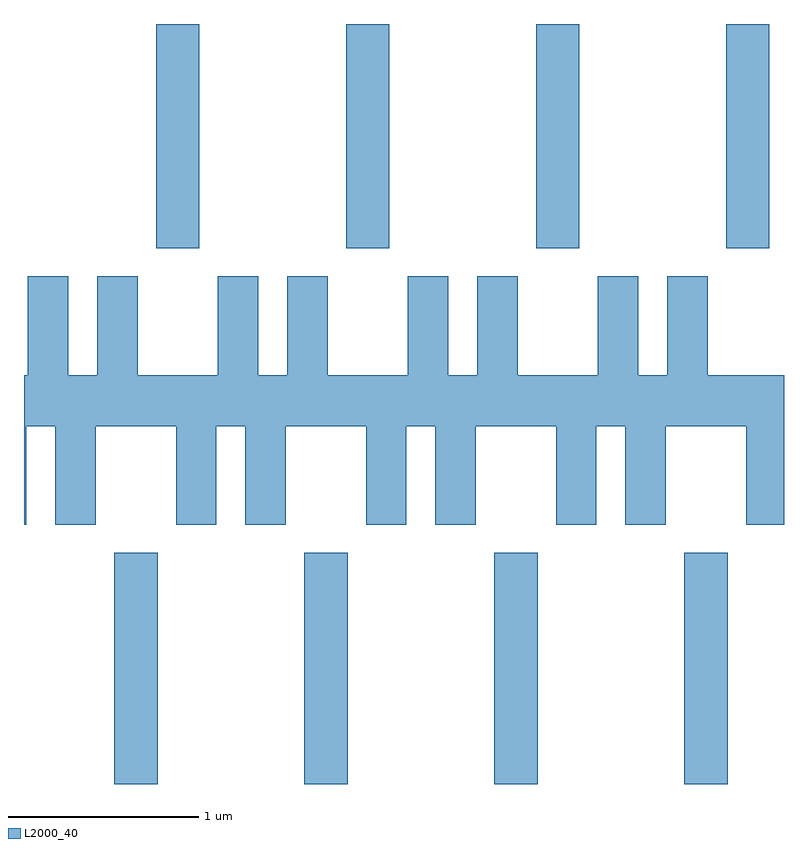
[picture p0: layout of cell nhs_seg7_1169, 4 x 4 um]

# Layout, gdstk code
import gdstk
lib = gdstk.Library(unit=1e-6, precision=1e-09)
def R(c, l, rs):  # rectangles x0, y0, x1, y1
    for r in rs: c.add(gdstk.rectangle(r[:2], r[2:], *l))
def A(c, l, x, y, w, h, nx, ny, dx, dy):  # array of equal rectangles
    R(c, l, [(x+i*dx, y+j*dy, x+i*dx+w, y+j*dy+h) for i in range(nx) for j in range(ny)])
def P(c, l, *ps):  # polygons
    for p in ps: c.add(gdstk.Polygon(p, *l))
L2000_40 = (2000, 40)

nhs_seg7_1169 = lib.new_cell('nhs_seg7_1169')
A(nhs_seg7_1169, L2000_40, 222.086, 1670.252, 0.228, 1.217, 4, 1, 1, 0)
A(nhs_seg7_1169, L2000_40, 222.306, 1673.071, 0.228, 1.181, 4, 1, 1, 0)
P(nhs_seg7_1169, L2000_40, [(221.624,1672.136),(221.776,1672.136),(221.776,1671.616),(221.989,1671.616),(221.989,1672.136),(222.411,1672.136),(222.411,1671.616),(222.624,1671.616),(222.624,1672.136),(222.776,1672.136),(222.776,1671.616),(222.989,1671.616),(222.989,1672.136),(223.411,1672.136),(223.411,1671.616),(223.624,1671.616),(223.624,1672.136),(223.776,1672.136),(223.776,1671.616),(223.989,1671.616),(223.989,1672.136),(224.411,1672.136),(224.411,1671.616),(224.624,1671.616),(224.624,1672.136),(224.776,1672.136),(224.776,1671.616),(224.989,1671.616),(224.989,1672.136),(225.411,1672.136),(225.411,1671.616),(225.611,1671.616),(225.611,1672.404),(225.209,1672.404),(225.209,1672.924),(224.996,1672.924),(224.996,1672.404),(224.844,1672.404),(224.844,1672.924),(224.631,1672.924),(224.631,1672.404),(224.209,1672.404),(224.209,1672.924),(223.996,1672.924),(223.996,1672.404),(223.844,1672.404),(223.844,1672.924),(223.631,1672.924),(223.631,1672.404),(223.209,1672.404),(223.209,1672.924),(222.996,1672.924),(222.996,1672.404),(222.844,1672.404),(222.844,1672.924),(222.631,1672.924),(222.631,1672.404),(222.209,1672.404),(222.209,1672.924),(221.996,1672.924),(221.996,1672.404),(221.844,1672.404),(221.844,1672.924),(221.631,1672.924),(221.631,1672.404),(221.611,1672.404),(221.611,1671.616),(221.624,1671.616)])

lib.write_gds('nhs_seg7_1169.gds')
